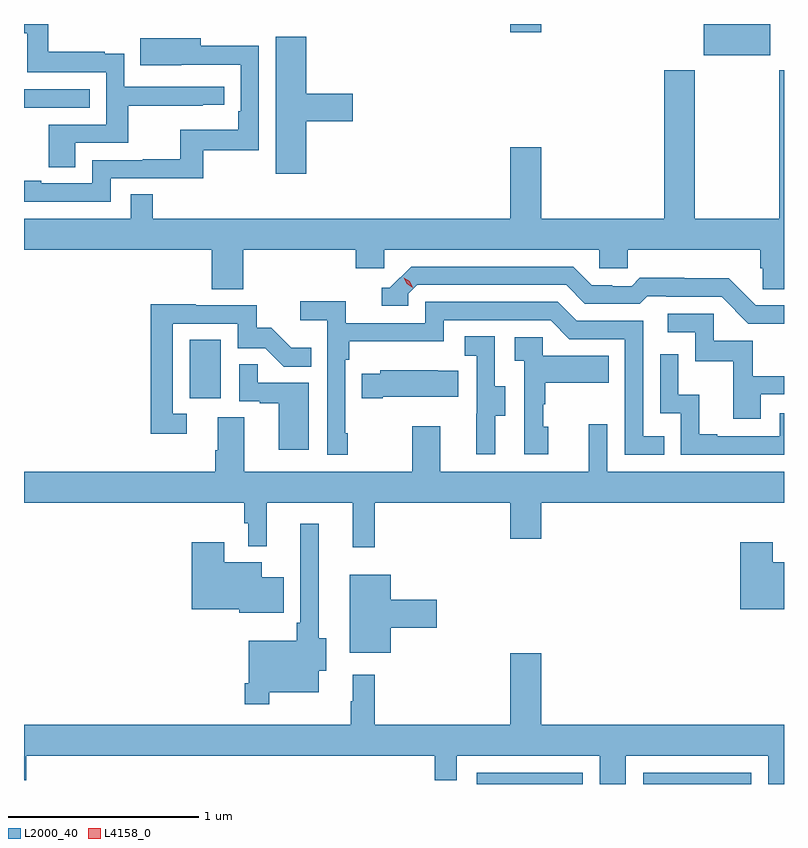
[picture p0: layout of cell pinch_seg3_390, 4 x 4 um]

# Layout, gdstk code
import gdstk
lib = gdstk.Library(unit=1e-6, precision=1e-09)
def R(c, l, rs):  # rectangles x0, y0, x1, y1
    for r in rs: c.add(gdstk.rectangle(r[:2], r[2:], *l))
def P(c, l, *ps):  # polygons
    for p in ps: c.add(gdstk.Polygon(p, *l))
L2000_40 = (2000, 40)
L4158_0 = (4158, 0)

pinch_seg3_390 = lib.new_cell('pinch_seg3_390')
R(pinch_seg3_390, L2000_40, [(932.064,690.112,932.622,690.171), (932.94,690.112,933.51,690.171), (930.554,692.142,930.718,692.449), (929.682,693.672,930.029,693.768), (933.26,693.947,933.61,694.112), (932.24,694.068,932.404,694.112)])
P(pinch_seg3_390, L2000_40, [(929.953,693.486),(930.23,693.486),(930.23,693.682),(930.623,693.682),(930.623,693.687),(930.736,693.687),(930.736,693.783),(930.21,693.783),(930.21,693.955),(930.107,693.955),(930.107,693.967),(929.809,693.967),(929.809,694.112),(929.682,694.112),(929.682,694.064),(929.698,694.064),(929.698,693.858),(930.114,693.858),(930.114,693.582),(929.813,693.582),(929.813,693.358),(929.953,693.358)],
  [(931.168,693.599),(931.411,693.599),(931.411,693.746),(931.168,693.746),(931.168,694.045),(931.007,694.045),(931.007,693.324),(931.168,693.324)],
  [(930.138,693.3),(930.625,693.3),(930.625,693.447),(930.918,693.447),(930.918,693.998),(930.613,693.998),(930.613,694.036),(930.295,694.036),(930.295,693.896),(930.509,693.896),(930.509,693.897),(930.822,693.897),(930.822,693.652),(930.809,693.652),(930.809,693.556),(930.504,693.556),(930.504,693.401),(930.307,693.401),(930.307,693.396),(930.042,693.396),(930.042,693.273),(929.773,693.273),(929.773,693.286),(929.682,693.286),(929.682,693.177),(930.138,693.177)],
  [(930.836,692.924),(931.427,692.924),(931.427,692.826),(931.578,692.826),(931.578,692.924),(932.709,692.924),(932.709,692.826),(932.859,692.826),(932.859,692.924),(933.557,692.924),(933.557,692.826),(933.571,692.826),(933.571,692.716),(933.682,692.716),(933.682,693.868),(933.658,693.868),(933.658,693.088),(933.213,693.088),(933.213,693.868),(933.053,693.868),(933.053,693.088),(932.404,693.088),(932.404,693.463),(932.24,693.463),(932.24,693.088),(930.359,693.088),(930.359,693.215),(930.243,693.215),(930.243,693.088),(929.682,693.088),(929.682,692.924),(930.671,692.924),(930.671,692.716),(930.836,692.716)],
  [(933.682,692.631),(933.534,692.631),(933.392,692.773),(933.156,692.773),(933.156,692.776),(932.923,692.776),(932.881,692.733),(932.778,692.733),(932.778,692.736),(932.671,692.736),(932.572,692.835),(931.719,692.835),(931.608,692.724),(931.565,692.724),(931.565,692.628),(931.704,692.628),(931.704,692.691),(931.752,692.739),(932.535,692.739),(932.634,692.64),(932.923,692.64),(932.962,692.679),(933.061,692.679),(933.061,692.676),(933.354,692.676),(933.495,692.535),(933.682,692.535)],
  [(931.387,691.957),(931.374,691.957),(931.374,692.345),(931.394,692.345),(931.394,692.441),(931.89,692.441),(931.89,692.553),(932.454,692.553),(932.553,692.454),(932.844,692.454),(932.844,691.845),(933.053,691.845),(933.053,691.941),(932.94,691.941),(932.94,692.55),(932.59,692.55),(932.491,692.649),(931.794,692.649),(931.794,692.538),(931.376,692.538),(931.376,692.654),(931.137,692.654),(931.137,692.552),(931.278,692.552),(931.278,691.845),(931.387,691.845)],
  [(930.538,692.061),(930.465,692.061),(930.465,692.535),(930.807,692.535),(930.807,692.406),(930.951,692.406),(931.049,692.308),(931.193,692.308),(931.193,692.407),(931.089,692.407),(930.982,692.514),(930.906,692.514),(930.906,692.631),(930.587,692.631),(930.587,692.636),(930.349,692.636),(930.349,691.956),(930.538,691.956)],
  [(933.559,692.163),(933.682,692.163),(933.682,692.259),(933.517,692.259),(933.517,692.445),(933.312,692.445),(933.312,692.586),(933.069,692.586),(933.069,692.49),(933.216,692.49),(933.216,692.337),(933.415,692.337),(933.415,692.034),(933.559,692.034)],
  [(932.161,692.05),(932.215,692.05),(932.215,692.205),(932.16,692.205),(932.16,692.468),(932.001,692.468),(932.001,692.365),(932.064,692.365),(932.064,692.061),(932.063,692.061),(932.063,691.848),(932.161,691.848)],
  [(932.44,691.992),(932.415,691.992),(932.415,692.111),(932.425,692.111),(932.425,692.225),(932.759,692.225),(932.759,692.365),(932.412,692.365),(932.412,692.463),(932.265,692.463),(932.265,692.339),(932.316,692.339),(932.316,691.848),(932.44,691.848)],
  [(933.682,692.064),(933.66,692.064),(933.66,691.941),(933.331,691.941),(933.331,691.954),(933.236,691.954),(933.236,692.162),(933.126,692.162),(933.126,692.374),(933.03,692.374),(933.03,692.064),(933.138,692.064),(933.138,691.845),(933.682,691.845)],
  [(931.18,692.223),(930.911,692.223),(930.911,692.321),(930.816,692.321),(930.816,692.127),(930.923,692.127),(930.923,692.115),(931.022,692.115),(931.022,691.872),(931.18,691.872)],
  [(931.57,692.15),(931.967,692.15),(931.967,692.287),(931.859,692.287),(931.859,692.29),(931.557,692.29),(931.557,692.272),(931.459,692.272),(931.459,692.143),(931.57,692.143)],
  [(931.529,691.592),(932.24,691.592),(932.24,691.404),(932.404,691.404),(932.404,691.592),(933.682,691.592),(933.682,691.756),(932.751,691.756),(932.751,692.005),(932.654,692.005),(932.654,691.756),(931.873,691.756),(931.873,691.996),(931.726,691.996),(931.726,691.756),(930.841,691.756),(930.841,692.042),(930.701,692.042),(930.701,691.868),(930.689,691.868),(930.689,691.756),(929.682,691.756),(929.682,691.592),(930.841,691.592),(930.841,691.485),(930.861,691.485),(930.861,691.364),(930.959,691.364),(930.959,691.592),(931.412,691.592),(931.412,691.359),(931.529,691.359)],
  [(930.973,690.596),(931.234,690.596),(931.234,690.707),(931.273,690.707),(931.273,690.878),(931.234,690.878),(931.234,691.483),(931.137,691.483),(931.137,690.961),(931.117,690.961),(931.117,690.865),(930.864,690.865),(930.864,690.643),(930.844,690.643),(930.844,690.531),(930.973,690.531)],
  [(933.682,691.279),(933.622,691.279),(933.622,691.384),(933.452,691.384),(933.452,691.031),(933.682,691.031)],
  [(931.048,691.201),(930.934,691.201),(930.934,691.279),(930.736,691.279),(930.736,691.384),(930.566,691.384),(930.566,691.031),(930.816,691.031),(930.816,691.013),(931.048,691.013)],
  [(931.612,690.935),(931.855,690.935),(931.855,691.082),(931.612,691.082),(931.612,691.213),(931.397,691.213),(931.397,690.803),(931.612,690.803)],
  [(932.85,690.26),(933.6,690.26),(933.6,690.112),(933.682,690.112),(933.682,690.424),(932.404,690.424),(932.404,690.799),(932.24,690.799),(932.24,690.424),(931.529,690.424),(931.529,690.688),(931.412,690.688),(931.412,690.548),(931.401,690.548),(931.401,690.424),(929.682,690.424),(929.682,690.133),(929.693,690.133),(929.693,690.26),(931.843,690.26),(931.843,690.133),(931.959,690.133),(931.959,690.26),(932.711,690.26),(932.711,690.112),(932.85,690.112)])
P(pinch_seg3_390, L4158_0, [(931.727,692.725),(931.697,692.744),(931.681,692.777),(931.681,692.777),(931.681,692.777),(931.712,692.758),(931.728,692.725),(931.728,692.725)])

lib.write_gds('pinch_seg3_390.gds')
